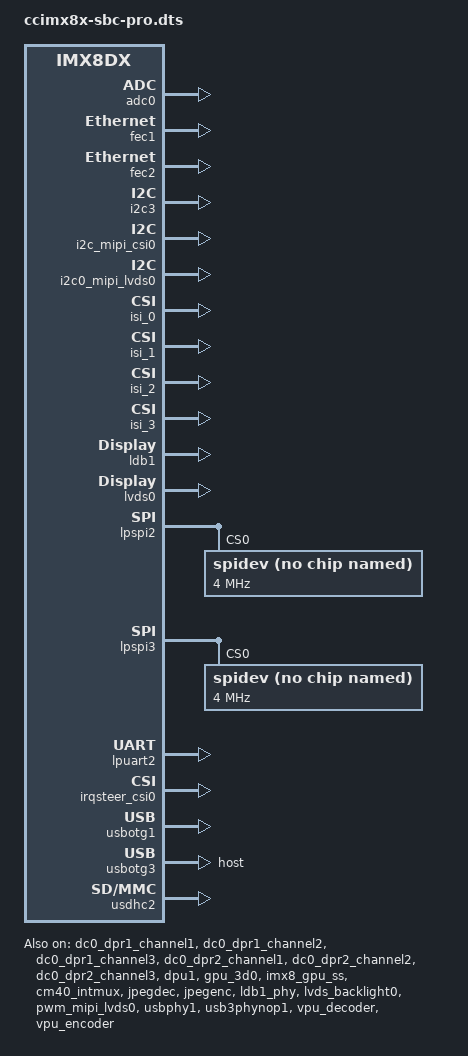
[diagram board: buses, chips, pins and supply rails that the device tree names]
/*
 * Copyright 2018-2020 Digi International Inc.
 *
 * Permission to use, copy, modify, and/or distribute this software for any
 * purpose with or without fee is hereby granted, provided that the above
 * copyright notice and this permission notice appear in all copies.
 * THE SOFTWARE IS PROVIDED "AS IS" AND THE AUTHOR DISCLAIMS ALL WARRANTIES
 * WITH REGARD TO THIS SOFTWARE INCLUDING ALL IMPLIED WARRANTIES OF
 * MERCHANTABILITY AND FITNESS. IN NO EVENT SHALL THE AUTHOR BE LIABLE FOR
 * ANY SPECIAL, DIRECT, INDIRECT, OR CONSEQUENTIAL DAMAGES OR ANY DAMAGES
 * WHATSOEVER RESULTING FROM LOSS OF USE, DATA OR PROFITS, WHETHER IN AN
 * ACTION OF CONTRACT, NEGLIGENCE OR OTHER TORTIOUS ACTION, ARISING OUT OF
 * OR IN CONNECTION WITH THE USE OR PERFORMANCE OF THIS SOFTWARE.
 */

/dts-v1/;

/*
 * The device tree for the ConnectCore 8X SBC Pro is made out of different
 * device tree include files that contain the common hardware of all variants.
 *
 * A U-Boot boot script applies additional overlays for variant-specific
 * hardware, including:
 *  - Overlay for ConnectCore 8X variants with a quad-core CPU
 *  - Overlay for ConnectCore 8X variants with Wi-Fi
 *  - Overlay for ConnectCore 8X variants with Bluetooth
 *
 * If you are not going to use Digi's boot script, you can:
 *  - Manually add the overlays to U-Boot's "overlays" environment variable
 *  - Apply the overlay fragments manually to this device tree, if you don't
 *    use Digi U-Boot's "dboot" command
 */
/* i.MX8DX CPU */
#include "../freescale/imx8dx.dtsi"
/* Digi ConnectCore 8X */
#include "ccimx8x.dtsi"
/* Digi ConnectCore 8X SBC Pro */
#include "ccimx8x-sbc-pro.dtsi"

/*
 * i.MX8X ADC channels on Expansion connector:
 *  - ADC_IN0 (channel 0)
 *  - ADC_IN1 (channel 1)
 *  - ADC_IN2 (channel 2)
 *  - ADC_IN3 (channel 3)
 *  - ADC_IN4 (channel 4)
 *  - ADC_IN5 (channel 5)
 * Include in digi,adc-ch-list the ADC channels (from 0 to 5) that you want to
 * enable. Note that the iomux has to be configured accordingly in pinctrl_adc0
 * to configure the pads for ADC operation. Make sure to remove them from
 * pinctrl_expansion where they may already be configured with another use.
 */
&adc0 {
	pinctrl-names = "default";
	pinctrl-0 = <&pinctrl_adc0>;
	digi,adc-ch-list = <0 1>;
	status = "okay";
};

&dc0_dpr1_channel1 {
	status = "okay";
};

&dc0_dpr1_channel2 {
	status = "okay";
};

&dc0_dpr1_channel3 {
	status = "okay";
};

&dc0_dpr2_channel1 {
	status = "okay";
};

&dc0_dpr2_channel2 {
	status = "okay";
};

&dc0_dpr2_channel3 {
	status = "okay";
};

&dpu1 {
	status = "okay";
};

&fec1 {
	status = "okay";
};

&fec2 {
	status = "okay";
};


&gpu_3d0 {
	status = "okay";
};


/*
 * I2C3 connected to MCP23018 GPIO-expander. */
&i2c3 {
	status = "okay";
};


/********************************** MIPI-CSI0 camera interface controls (via I2C0): **************************************/
&i2c_mipi_csi0 {
	status = "okay";
};

&i2c0_mipi_lvds0 {
	status = "okay";	/* MIPI-DSI0 I2C available on LVDS0 connector --> NOT in use! ELO-touchscreen use USB, not I2C!! */
};

&imx8_gpu_ss {
	status = "okay";
};

&cm40_intmux {
	status = "okay";
};

&isi_0 {
	status = "okay";
};

&isi_1 {
	status = "okay";
};

&isi_2 {
	status = "okay";
};

&isi_3 {
	status = "okay";
};

&jpegdec {
	status = "okay";
};

&jpegenc {
	status = "okay";
};

&ldb1 {
	status = "okay";
};

&ldb1_phy {
	status = "okay";
};

/********************************** MIPI-DSI0 (LVDS-)display serial interface: **************************************/
&lvds0 {
	status = "okay";
};

/* NOTE: this is ONLY for use of PWM-output, controlling backlight intensity on ELO panel! */
&lvds_backlight0 {
	status = "okay";
};

&lvds0_panel {
	status = "okay";
};

/* This is the actual PWM interface for backlight: */
&pwm_mipi_lvds0 {
	status = "okay";
};



/* LPSPI2 - used for Tricolor-LED control (via SPIDEV-node), only using SCK and SDO signals! */
&lpspi2 {
	assigned-clock-rates = <60000000>;
	status = "okay";

	/*
	 * Add your slave devices here. Next is an example of spidev.
	 * Expect a harmless kernel warning if you enable spidev as slave.
	 */
	spidev@0 {
		compatible = "spidev";
		reg = <0>;				// Will be associated with 'CS0' ChipSelect. reg=<1> is 'CS1' etc.
		spi-max-frequency = <4000000>;
	};
};


/* LPSPI3 - used for NFC-reader communication and control (via SPIDEV-node), using CS0 signal. */
&lpspi3 {
	assigned-clock-rates = <60000000>;
	status = "okay";

	/* NFC controlled via SPIDEV userspace-driver (a.t.m.) */
	spidev@0 {
		compatible = "spidev";
		reg = <0>;				// Will be associated with 'CS0' ChipSelect. reg=<1> is 'CS1' etc.
		spi-max-frequency = <4000000>;
	};
};


/* LPUART0 (not in use a.t.m. - but Tx/Rx-pads available). NOTE: used as GPIOs in WICC-board rev.B !! */
/*
&lpuart0 {
	// Only TxD and RxD signals available - no RTC/CTS - so 2-wire interface used: 
	pinctrl-0 = <&pinctrl_lpuart0_2wires>;
	status = "okay";
};
*/

/* Console */
&lpuart2 {
	status = "okay";
};


/********************** MCA UARTs. Assign the IO pins (see bindings) and change status to 'okay' *******************/

/* TO BE ASSESSED - no use of MCA-UARTs a.t.m.(???) */
/*
&mca_uart {
	status = "disabled";
};


&mca_uart0 {
	iopins-names = "rx", "tx";
	iopins = <9 10>;
	status = "disabled";
};


&mca_uart1 {
	iopins-names = "rx", "tx";
	iopins = <11 16>;
	status = "disabled";
};


&mca_uart2 {
	iopins-names = "rx", "tx", "cts", "rts";
	iopins = <2 1 3 4>;
	status = "disabled";
};
*/


/* Power LED on MCA_IO13 */
/*
&mca_led {
	#address-cells = <1>;
	#size-cells = <0>;
	status = "okay";

	led@0 {
		reg = <0>;
		label = "power:green";
		io = <13>;
		linux,default-trigger = "default-on";
		retain-state-suspended;
	};
};
*/

&irqsteer_csi0 {
	status = "okay";
};


/********************************** USB section *****************************************/

/* USB_OTG1 connected to the usb hub */
&usbotg1 {
	status = "okay";
};


&usbphy1 {
	status = "okay";
};


/* USB_SS3 is NOT used! (not on castellated pads) --> but name is used here (usbotg3) because USB_SS3 and USB_OTG2 is part of same USB (host-)controller! */

&usb3phynop1 {
	status = "okay";
};

&usbotg3 {
	dr_mode = "host";
	maximum-speed = "high-speed";                            // Typically NOT necessary to set ... (but, connected to LTE-modem on mPCIe-slot, that anyway do NOT support USB3 SuperSpeed ...).
	disable-over-current;
	status = "okay";
};




/************************** Micro SD card ***************************/
&usdhc2 {
	status = "okay";
};


&vpu_decoder {
	status = "okay";
};

&vpu_encoder {
	status = "okay";
};



/************************************** IOMUX (settings for digital GPIO that are NOT claimed by drivers) *****************************************/
/*
IOMUXC
------
Pad-mux control register controls the IOMUX of the given pad(=pin).
Bit[29:27] represents the 'mux_control' field.
E.g. the mask is as follows for MUX<n> setting:
MUX0 = 0x00000000
MUX1 = 0x08000000
MUX2 = 0x10000000
MUX3 = 0x18000000
MUX4 = 0x20000000 --> pinmux=4 : LSGPIO setting (if available)
MUX5 = NA
MUX6 = NA
MUX7 = NA
*/
&iomuxc {
	pinctrl-names = "default";
	pinctrl-0 = <&pinctrl_expansion>;

	/* Expansion Connector */
	pinctrl_expansion: expansiongrp {
		fsl,pins = <
			/************ MUX0 (ADC0) select-signals **************/
			/* IO4.31 */
			IMX8QXP_ENET0_RGMII_TXD0_LSIO_GPIO4_IO31    0x20000040
			/* IO5.0 */
			IMX8QXP_ENET0_RGMII_TXD1_LSIO_GPIO5_IO00    0x26000040
			/* IO5.1 */
			IMX8QXP_ENET0_RGMII_TXD2_LSIO_GPIO5_IO01    0x26000040
			/* IO5.2 */
			IMX8QXP_ENET0_RGMII_TXD3_LSIO_GPIO5_IO02    0x26000040
			
			/************ MUX1 (ADC1) select-signals **************/
			/* IO4.29 */
			IMX8QXP_ENET0_RGMII_TXC_LSIO_GPIO4_IO29         0x26000040
			/* IO4.30 */
			IMX8QXP_ENET0_RGMII_TX_CTL_LSIO_GPIO4_IO30      0x26000040
			/* IO5.4 */
			IMX8QXP_ENET0_RGMII_RX_CTL_LSIO_GPIO5_IO04      0x26000040
			/* IO5.3 */
			IMX8QXP_ENET0_RGMII_RXC_LSIO_GPIO5_IO03         0x26000040
			
			/************ Outlet_A Relays ************************/
			/* IO3.16 */
			IMX8QXP_QSPI0A_SCLK_LSIO_GPIO3_IO16             0x20000040
			/* IO1.19 */
			IMX8QXP_FLEXCAN2_RX_LSIO_GPIO1_IO19             0x20000040
			/* IO1.20 */
			IMX8QXP_FLEXCAN2_TX_LSIO_GPIO1_IO20             0x20000040
			/* IO1.17 */
			IMX8QXP_FLEXCAN1_RX_LSIO_GPIO1_IO17             0x20000040
			/* IO1.18 */
			IMX8QXP_FLEXCAN1_TX_LSIO_GPIO1_IO18             0x20000040
			/* IO1.15 */
			IMX8QXP_FLEXCAN0_RX_LSIO_GPIO1_IO15             0x20000040
			/* IO1.16 */
			IMX8QXP_FLEXCAN0_TX_LSIO_GPIO1_IO16             0x20000040
			/* IO0.19 */
			IMX8QXP_MCLK_IN0_LSIO_GPIO0_IO19                0x20000040
			
			/**************** Outlet_B Relays ********************/
			/* IO3.14 */
			IMX8QXP_QSPI0A_SS0_B_LSIO_GPIO3_IO14            0x20000040
			/* IO5.5 */
			IMX8QXP_ENET0_RGMII_RXD0_LSIO_GPIO5_IO05        0x20000040
			/* IO5.6 */
			IMX8QXP_ENET0_RGMII_RXD1_LSIO_GPIO5_IO06        0x20000040
			/* IO5.7 = signal 'S3_1' */
			IMX8QXP_ENET0_RGMII_RXD2_LSIO_GPIO5_IO07        0x20000040
			/* IO5.8 */
			IMX8QXP_ENET0_RGMII_RXD3_LSIO_GPIO5_IO08        0x20000040
			/* IO5.9 */
			IMX8QXP_ENET0_REFCLK_125M_25M_LSIO_GPIO5_IO09   0x20000040
			/* IO5.10 */
			IMX8QXP_ENET0_MDIO_LSIO_GPIO5_IO10    	  0x20000040
			/* IO5.11 */
			IMX8QXP_ENET0_MDC_LSIO_GPIO5_IO11               0x20000040
			
			/******************** Cable-Lock Motor Control **********************/
			/* IO1.21 = "Control_Motor_B_lock" --> pin 'IMX8QXP_UART0_RX' */
			IMX8QXP_UART0_RX_LSIO_GPIO1_IO21                0x20000040
			/* IO1.22 = "Control_Motor_A_lock"  --> pin 'IMX8QXP_UART0_TX' */
			IMX8QXP_UART0_TX_LSIO_GPIO1_IO22                0x20000040
			
			/* IO4.22 = "Control_Motor_A_unlock" --> pin 'IMX8QXP_USDHC1_CD_B' */
			IMX8QXP_USDHC1_CD_B_LSIO_GPIO4_IO22             0x20000040
			
			/* IO1.25 = "Control_Motor_B_unlock" --> pin 'IMX8QXP_MIPI_DSI0_I2C0_SCL' */
			// IMX8QXP_MIPI_DSI0_I2C0_SCL_LSIO_GPIO1_IO25      0x20000040                           // NOTE: no can do - using pin as GPIO removes connection i.MX8X<-->MCA !!
			/* IO1.26 = signal "EN_Locking_Motor_Battery" --> pin 'IMX8QXP_MIPI_DSI0_I2C0_SDA' */
			// IMX8QXP_MIPI_DSI0_I2C0_SDA_LSIO_GPIO1_IO26      0x20000040                           // NOTE: no can do - using pin as GPIO removes connection i.MX8X<-->MCA !!
			
			/* IO1.28 = "Lock_state_A" --> pin 'IMX8QXP_MIPI_DSI0_GPIO0_01' */
			IMX8QXP_MIPI_DSI0_GPIO0_01_LSIO_GPIO1_IO28	    0x20000040
			/* IO1.29 = 'Lock_state_B' --> pin 'IMX8QXP_MIPI_DSI0_GPIO0_01' */
			IMX8QXP_MIPI_DSI1_I2C0_SCL_LSIO_GPIO1_IO29	    0x20000040
			
			
			/***************** BatteryCharger Control ******************/
			/* IO1.30 = 'POWER_ON_Charger' --> pad 'IMX8QXP_MIPI_DSI1_I2C0_SDA' (pin22 on module) */
			IMX8QXP_MIPI_DSI1_I2C0_SDA_LSIO_GPIO1_IO30      0x20000040
			
			
			/*************** EXT-outlet Relay control ******************/
                       /* 'S_Ex_contact_control' = IO1.31 */
			IMX8QXP_MIPI_DSI1_GPIO0_00_LSIO_GPIO1_IO31      0x20000040
			
			/*************** Board sensors --> probably belongs in DTSI-file *************************/
			/* INT_ACC = IO9.2 --> MCA_IO2 */
			/* INT_TEMP = IO9.3 --> MCA_IO3 */
			
			/*************** Backlight controls --> probably belongs in DTSI-file *************************/
			/* BACKLIGHT_ENABLE = IO9.4 --> MCA_IO4 */
			    
			/*************** Outlet_A alarms *************************/
			/* AC_ALARM_A = IO9.9 --> MCA_IO9 */
			/* DC_ALARM_A = IO9.10 --> MCA_IO10 */
			
                       /*************** Outlet_B alarms *************************/
			/* AC_ALARM_B = IO9.9 --> MCA_IO9 */
			/* DC_ALARM_B = IO9.10 --> MCA_IO10 */
			
			/*************** MCP23018 GPIO-expander control --> probably belongs in DTSI-file (TODO: where??) *************************/
			/* RESET_MCP_io_expander = IO3.15 */
			IMX8QXP_QSPI0A_SS1_B_LSIO_GPIO3_IO15             0x26000060
			
			/***************** USB --> belongs in DTSI-file as they are associated w. specific (USB-)drivers **********************/	
					 
                       /***************** LTE-modem --> belongs in DTSI-file for same reason **********************/
                       
			/***************** Tricolor-LED Control --> belongs in DTSI-file (part of SPI2 setup) **********************/
			
			/***************** NFC --> belongs in DTSI-file (??) IF used with a driver. NOT USED IN VER.1 !! *******************************/
			/* 'NFC_POWER_TX' = IO1.29 */
			// IMX8QXP_MIPI_DSI1_I2C0_SCL_LSIO_GPIO1_IO29    0x26000060
			/* 'POWER_ON_NFC' = IO1.30 */
			// IMX8QXP_MIPI_DSI1_I2C0_SDA_LSIO_GPIO1_IO30    0x26000060
			/* 'NFC_IRQ_IN' = IO4.22 */
			// IMX8QXP_USDHC1_CD_B_LSIO_GPIO4_IO22           0x26000060
			/* 'NFC_IRQ_OUT' = MCA_IO1 = GPIO9_1 --> need NOT be part of DTS as long as userspace controls it! */
		>;
	};

	/* i.MX8X internal (12-bit, Vref=1.8V) ADC. Uncomment the pads you wish to use as ADC-inputs: */
	pinctrl_adc0: adc0grp {
		fsl,pins = <
			/* ADC_IN0 */
			IMX8QXP_ADC_IN0_ADMA_ADC_IN0		0xc0000060
			/* ADC_IN1 */
			IMX8QXP_ADC_IN1_ADMA_ADC_IN1		0xc0000060
		>;
	};
};


